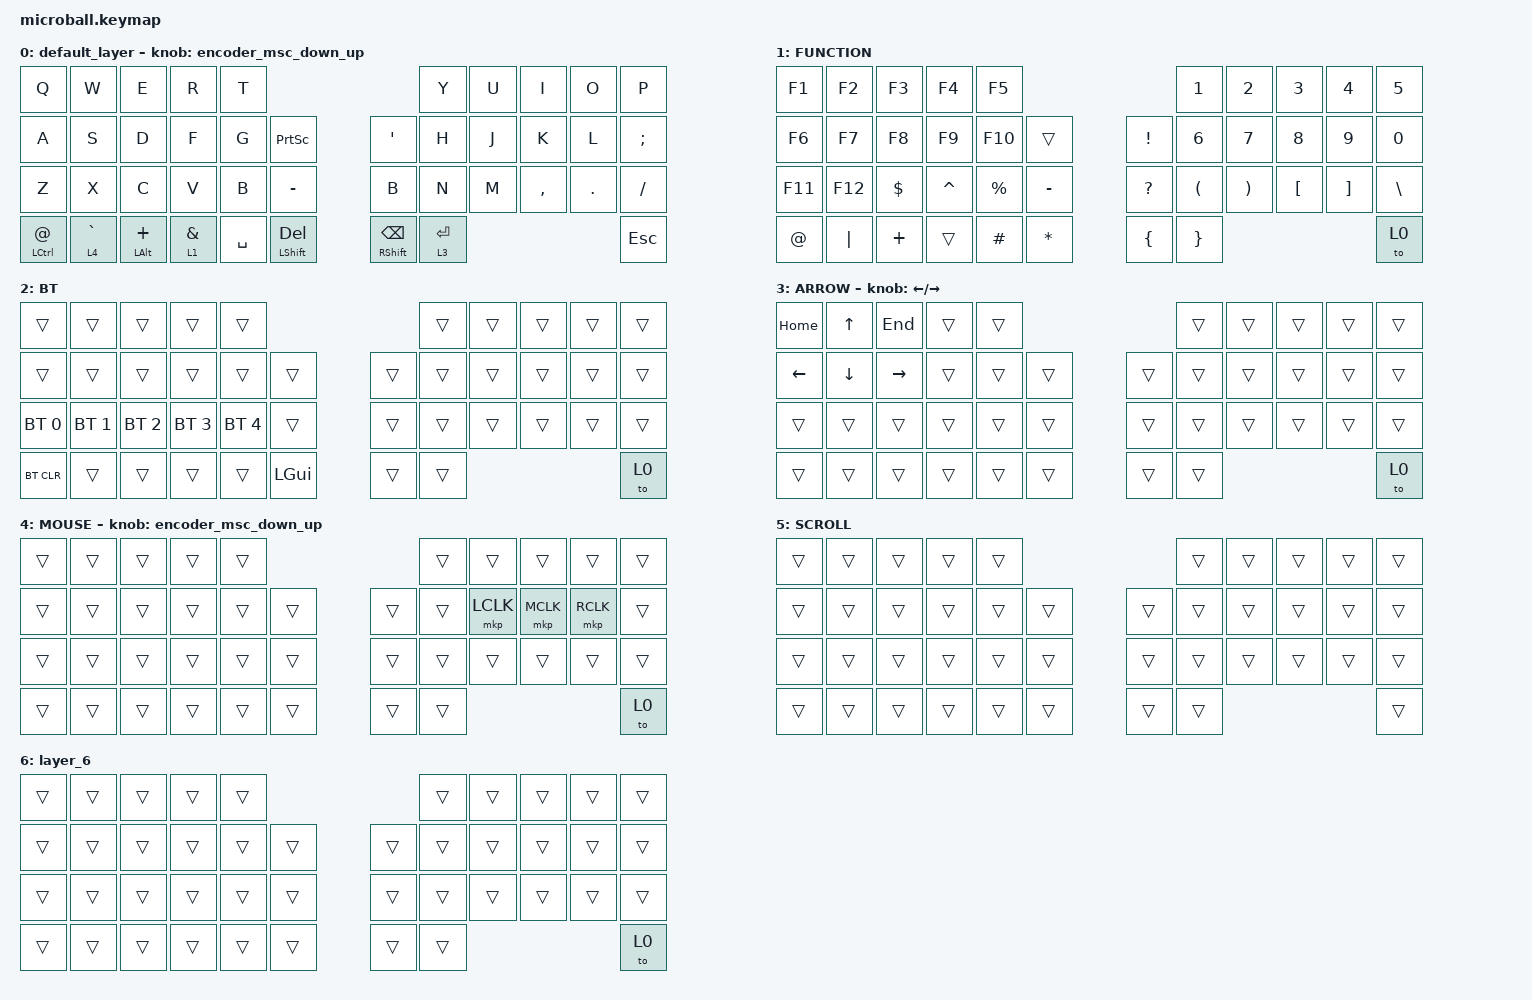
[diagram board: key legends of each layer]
#include <behaviors.dtsi>
#include <dt-bindings/zmk/bt.h>
#include <dt-bindings/zmk/keys.h>
#include <dt-bindings/zmk/pointing.h>

#define ZMK_POINTING_DEFAULT_SCRL_VAL 80
#define MOUSE 4
#define SCROLL 5
#define NUM 6

&mt {
    flavor = "balanced";
    quick-tap-ms = <0>;
};

/ {
    combos {
        compatible = "zmk,combos";

        LANGchange {
            bindings = <&kp LG(SPACE)>;
            key-positions = <39 40>;
        };

        BT_home {
            bindings = <&bt BT_SEL 0>;
            key-positions = <0 9>;
        };

        BT_company {
            bindings = <&bt BT_SEL 1>;
            key-positions = <34 42>;
        };

        RALTcombo {
            bindings = <&kp RIGHT_ALT>;
            key-positions = <28 41>;
        };

        EXCLcombo {
            bindings = <&kp EXCL>;
            key-positions = <16 28>;
        };

        TAB_combo {
            bindings = <&kp TAB>;
            key-positions = <4 14>;
        };

        MOUSEcombo {
            bindings = <&to 4>;
            key-positions = <4 39>;
        };

        BTcombo {
            bindings = <&mo 2>;
            key-positions = <5 40>;
        };
    };

    macros {
        to_layer_0: to_layer_0 {
            compatible = "zmk,behavior-macro-one-param";
            #binding-cells = <1>;
            bindings = <&to 0 &macro_param_1to1 &kp MACRO_PLACEHOLDER>;
            label = "TO_LAYER_0";
        };
    };

    behaviors {
        encoder_msc_down_up: encoder_msc_down_up {
            compatible = "zmk,behavior-sensor-rotate";
            label = "ENCODER_MSC_DOWN_UP";
            #sensor-binding-cells = <0>;
            bindings = <&msc SCRL_DOWN>, <&msc SCRL_UP>;

            tap-ms = <20>;
        };

        lt_to_layer_0: lt_to_layer_0 {
            compatible = "zmk,behavior-hold-tap";
            label = "LAYER_TAP_TO_0";
            bindings = <&mo>, <&to_layer_0>;

            #binding-cells = <2>;
            tapping-term-ms = <200>;
        };
    };

    keymap {
        compatible = "zmk,keymap";

        default_layer {
            bindings = <
&kp Q              &kp W        &kp E              &kp R       &kp T                                                            &kp Y        &kp U  &kp I      &kp O    &kp P
&kp A              &kp S        &kp D              &kp F       &kp G      &kp PRINTSCREEN            &kp SQT                    &kp H        &kp J  &kp K      &kp L    &kp SEMICOLON
&kp Z              &kp X        &kp C              &kp V       &kp B      &kp MINUS                  &kp B                      &kp N        &kp M  &kp COMMA  &kp DOT  &kp SLASH
&mt LCTRL AT_SIGN  &lt 4 GRAVE  &mt LEFT_ALT PLUS  &lt 1 AMPS  &kp SPACE  &mt LEFT_SHIFT DELETE      &mt RIGHT_SHIFT BACKSPACE  &lt 3 ENTER                             &kp ESCAPE
            >;

            sensor-bindings = <&encoder_msc_down_up>;
        };

        FUNCTION {
            bindings = <
&kp F1   &kp F2    &kp F3    &kp F4     &kp F5                                          &kp NUMBER_1          &kp NUMBER_2           &kp NUMBER_3      &kp NUMBER_4       &kp N5
&kp F6   &kp F7    &kp F8    &kp F9     &kp F10      &trans            &kp EXCLAMATION  &kp NUMBER_6          &kp N7                 &kp N8            &kp N9             &kp N0
&kp F11  &kp F12   &kp DLLR  &kp CARET  &kp PERCENT  &kp MINUS         &kp QUESTION     &kp LEFT_PARENTHESIS  &kp RIGHT_PARENTHESIS  &kp LEFT_BRACKET  &kp RIGHT_BRACKET  &kp BACKSLASH
&kp AT   &kp PIPE  &kp PLUS  &trans     &kp HASH     &kp ASTERISK      &kp LEFT_BRACE   &kp RIGHT_BRACE                                                                   &to 0
            >;
        };

        BT {
            bindings = <
&trans        &trans        &trans        &trans        &trans                                  &trans  &trans  &trans  &trans  &trans
&trans        &trans        &trans        &trans        &trans        &trans            &trans  &trans  &trans  &trans  &trans  &trans
&bt BT_SEL 0  &bt BT_SEL 1  &bt BT_SEL 2  &bt BT_SEL 3  &bt BT_SEL 4  &trans            &trans  &trans  &trans  &trans  &trans  &trans
&bt BT_CLR    &trans        &trans        &trans        &trans        &kp LEFT_GUI      &trans  &trans                          &to 0
            >;
        };

        ARROW {
            bindings = <
&kp HOME  &kp UP    &kp END    &trans  &trans                      &trans  &trans  &trans  &trans  &trans
&kp LEFT  &kp DOWN  &kp RIGHT  &trans  &trans  &trans      &trans  &trans  &trans  &trans  &trans  &trans
&trans    &trans    &trans     &trans  &trans  &trans      &trans  &trans  &trans  &trans  &trans  &trans
&trans    &trans    &trans     &trans  &trans  &trans      &trans  &trans                          &to 0
            >;

            sensor-bindings = <&inc_dec_kp LEFT RIGHT>;
        };

        MOUSE {
            bindings = <
&trans  &trans  &trans  &trans  &trans                      &trans  &trans     &trans     &trans     &trans
&trans  &trans  &trans  &trans  &trans  &trans      &trans  &trans  &mkp LCLK  &mkp MCLK  &mkp RCLK  &trans
&trans  &trans  &trans  &trans  &trans  &trans      &trans  &trans  &trans     &trans     &trans     &trans
&trans  &trans  &trans  &trans  &trans  &trans      &trans  &trans                                   &to 0
            >;

            sensor-bindings = <&encoder_msc_down_up>;
        };

        SCROLL {
            bindings = <
&trans  &trans  &trans  &trans  &trans                      &trans  &trans  &trans  &trans  &trans
&trans  &trans  &trans  &trans  &trans  &trans      &trans  &trans  &trans  &trans  &trans  &trans
&trans  &trans  &trans  &trans  &trans  &trans      &trans  &trans  &trans  &trans  &trans  &trans
&trans  &trans  &trans  &trans  &trans  &trans      &trans  &trans                          &trans
            >;
        };

        layer_6 {
            bindings = <
&trans  &trans  &trans  &trans  &trans                      &trans  &trans  &trans  &trans  &trans
&trans  &trans  &trans  &trans  &trans  &trans      &trans  &trans  &trans  &trans  &trans  &trans
&trans  &trans  &trans  &trans  &trans  &trans      &trans  &trans  &trans  &trans  &trans  &trans
&trans  &trans  &trans  &trans  &trans  &trans      &trans  &trans                          &to 0
            >;
        };
    };
};
